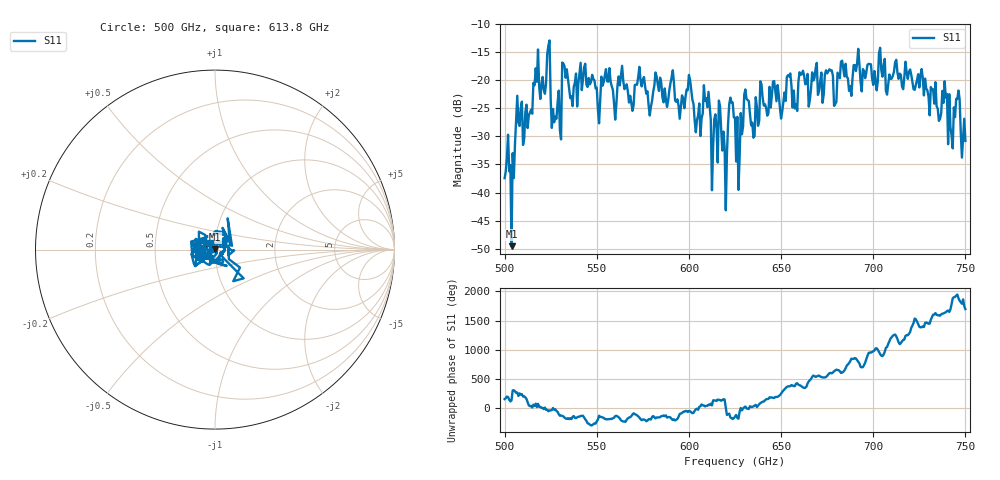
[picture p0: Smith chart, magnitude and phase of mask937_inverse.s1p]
!Created with skrf (http://scikit-rf.org).
# GHz S MA R 50.0
!freq magS11 angS11
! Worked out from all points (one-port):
!   401 points, 500 GHz to 750 GHz, reference 50 ohm
!   lowest |S11| = -49.5 dB at 503.8 GHz (marker M1), VSWR 1.01, Z = 49.8 + j0.267 ohm
!   |S11| at or under -10 dB: start of sweep to end of sweep
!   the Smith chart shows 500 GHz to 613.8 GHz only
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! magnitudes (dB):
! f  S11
! 500 GHz  -37.4
! 503.8 GHz  -49.5
! 507.5 GHz  -27.6
! 513.8 GHz  -25.7
! 516.9 GHz  -17.9
! 523.8 GHz  -13.8
! 526.9 GHz  -27.5
! 531.2 GHz  -16.8
! 532.5 GHz  -17.5
! 550.6 GHz  -25.2
! 562.5 GHz  -20.9
! 593.8 GHz  -23.4
! 609.4 GHz  -23.2
! 619.4 GHz  -32.0
! 622.5 GHz  -23.1
! 625 GHz  -26.6
! 626.2 GHz  -26.5
! 631.2 GHz  -23.3
! 634.4 GHz  -27.5
! 640 GHz  -23.1
! 656.2 GHz  -24.9
! 687.5 GHz  -21.0
! 718.8 GHz  -19.8
! 735.6 GHz  -27.2
! 738.8 GHz  -20.2
! 741.9 GHz  -28.4
! 745.6 GHz  -23.4
! 750 GHz  -30.8
